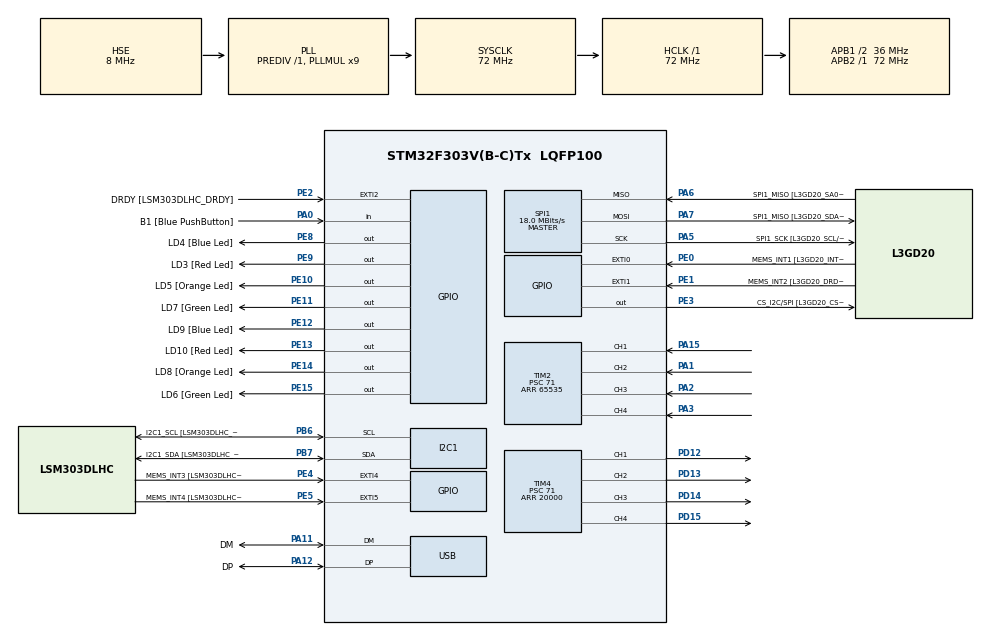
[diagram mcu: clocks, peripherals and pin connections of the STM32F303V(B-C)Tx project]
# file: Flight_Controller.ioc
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I2C1.Timing=0x2000090E
I2C1.Timing-I2C=0x2000090E
Mcu.Family=STM32F3
Mcu.Name=STM32F303V(B-C)Tx
Mcu.Package=LQFP100
NVIC.PriorityGroup=NVIC_PRIORITYGROUP_0
NVIC.TIM2_IRQn=true\:0\:0\:false\:false\:true
NVIC.USB_LP_CAN_RX0_IRQn=true\:0\:0\:false\:false\:true
PA0.GPIO_Label=B1 [Blue PushButton]
PA0.Signal=GPIO_Input
PA1.Signal=S_TIM2_CH2
PA11.GPIO_Label=DM
PA11.Mode=Device
PA11.Signal=USB_DM
PA12.GPIO_Label=DP
PA12.Mode=Device
PA12.Signal=USB_DP
PA13.GPIO_Label=SWDIO
PA13.Mode=Serial_Wire
PA13.Signal=SYS_JTMS-SWDIO
PA14.GPIO_Label=SWCLK
PA14.Mode=Serial_Wire
PA14.Signal=SYS_JTCK-SWCLK
PA15.Signal=S_TIM2_CH1_ETR
PA2.Signal=S_TIM2_CH3
PA3.Signal=S_TIM2_CH4
PA5.GPIO_Label=SPI1_SCK [L3GD20_SCL/SPC]
PA5.Mode=Full_Duplex_Master
PA5.Signal=SPI1_SCK
PA6.GPIO_Label=SPI1_MISO [L3GD20_SA0/SDO]
PA6.Mode=Full_Duplex_Master
PA6.Signal=SPI1_MISO
PA7.GPIO_Label=SPI1_MISO [L3GD20_SDA/SDI/SDO]
PA7.Mode=Full_Duplex_Master
PA7.Signal=SPI1_MOSI
PB3.GPIO_Label=SWO
PB3.Signal=SYS_JTDO-TRACESWO
PB6.GPIO_Label=I2C1_SCL [LSM303DLHC_SCL]
PB6.Mode=I2C
PB6.Signal=I2C1_SCL
PB7.GPIO_Label=I2C1_SDA [LSM303DLHC_SDA]
PB7.Mode=I2C
PB7.Signal=I2C1_SDA
PC14-OSC32_IN.GPIO_Label=OSC32_IN
PC14-OSC32_IN.Signal=RCC_OSC32_IN
PC15-OSC32_OUT.GPIO_Label=OSC32_OUT
PC15-OSC32_OUT.Signal=RCC_OSC32_OUT
PD12.Signal=S_TIM4_CH1
PD13.Signal=S_TIM4_CH2
PD14.Signal=S_TIM4_CH3
PD15.Signal=S_TIM4_CH4
PE0.GPIO_Label=MEMS_INT1 [L3GD20_INT1]
PE0.GPIO_ModeDefaultEXTI=GPIO_MODE_EVT_RISING
PE0.Signal=GPXTI0
PE1.GPIO_Label=MEMS_INT2 [L3GD20_DRDY/INT2]
PE1.GPIO_ModeDefaultEXTI=GPIO_MODE_EVT_RISING
PE1.Signal=GPXTI1
PE10.GPIO_Label=LD5 [Orange Led]
PE10.Signal=GPIO_Output
PE11.GPIO_Label=LD7 [Green Led]
PE11.Signal=GPIO_Output
PE12.GPIO_Label=LD9 [Blue Led]
PE12.Signal=GPIO_Output
PE13.GPIO_Label=LD10 [Red Led]
PE13.Signal=GPIO_Output
PE14.GPIO_Label=LD8 [Orange Led]
PE14.Signal=GPIO_Output
PE15.GPIO_Label=LD6 [Green Led]
PE15.Signal=GPIO_Output
PE2.GPIO_Label=DRDY [LSM303DLHC_DRDY]
PE2.GPIO_ModeDefaultEXTI=GPIO_MODE_EVT_RISING
PE2.Signal=GPXTI2
PE3.GPIO_Label=CS_I2C/SPI [L3GD20_CS_I2C/SPI]
PE3.Signal=GPIO_Output
PE4.GPIO_Label=MEMS_INT3 [LSM303DLHC_INT1]
PE4.GPIO_ModeDefaultEXTI=GPIO_MODE_EVT_RISING
PE4.Signal=GPXTI4
PE5.GPIO_Label=MEMS_INT4 [LSM303DLHC_INT2]
PE5.GPIO_ModeDefaultEXTI=GPIO_MODE_EVT_RISING
PE5.Signal=GPXTI5
PE8.GPIO_Label=LD4 [Blue Led]
PE8.Signal=GPIO_Output
PE9.GPIO_Label=LD3 [Red Led]
PE9.Signal=GPIO_Output
PF0-OSC_IN.GPIO_Label=OSC_IN
PF0-OSC_IN.Mode=HSE-External-Clock-Source
PF0-OSC_IN.Signal=RCC_OSC_IN
PF1-OSC_OUT.GPIO_Label=OSC_OUT
PF1-OSC_OUT.Signal=RCC_OSC_OUT
ProjectManager.HeapSize=0x200
ProjectManager.StackSize=0x400
ProjectManager.TargetToolchain=SW4STM32
RCC.AHBFreq_Value=72000000
RCC.APB1CLKDivider=RCC_HCLK_DIV2
RCC.APB1Freq_Value=36000000
RCC.APB1TimFreq_Value=72000000
RCC.APB2Freq_Value=72000000
RCC.APB2TimFreq_Value=72000000
RCC.CortexFreq_Value=72000000
RCC.HCLKFreq_Value=72000000
RCC.HSE_VALUE=8000000
RCC.HSI_VALUE=8000000
RCC.LSE_VALUE=32768
RCC.PLLMUL=RCC_PLL_MUL9
RCC.PRESCALERUSB=RCC_USBCLKSOURCE_PLL_DIV1_5
RCC.SYSCLKFreq_VALUE=72000000
RCC.SYSCLKSourceVirtual=RCC_SYSCLKSOURCE_PLLCLK
RCC.USBFreq_Value=48000000
SH.S_TIM2_CH1_ETR.0=TIM2_CH1,Input_Capture1_from_TI1
SH.S_TIM2_CH2.0=TIM2_CH2,Input_Capture2_from_TI2
SH.S_TIM2_CH3.0=TIM2_CH3,Input_Capture3_from_TI3
SH.S_TIM2_CH4.0=TIM2_CH4,Input_Capture4_from_TI4
SH.S_TIM4_CH1.0=TIM4_CH1,PWM Generation1 CH1
SH.S_TIM4_CH2.0=TIM4_CH2,PWM Generation2 CH2
SH.S_TIM4_CH3.0=TIM4_CH3,PWM Generation3 CH3
SH.S_TIM4_CH4.0=TIM4_CH4,PWM Generation4 CH4
SPI1.BaudRatePrescaler=SPI_BAUDRATEPRESCALER_4
SPI1.BaudRatePrescaler-Full_Duplex_Master=SPI_BAUDRATEPRESCALER_2
SPI1.CalculateBaudRate=18.0 MBits/s
SPI1.CalculateBaudRate-Full_Duplex_Master=24.0 MBits/s
SPI1.Direction=SPI_DIRECTION_2LINES
SPI1.Mode=SPI_MODE_MASTER
SPI1.Mode-Full_Duplex_Master=SPI_MODE_MASTER
SPI1.VirtualType=VM_MASTER
TIM2.Channel-Input_Capture1_from_TI1=TIM_CHANNEL_1
TIM2.Channel-Input_Capture2_from_TI2=TIM_CHANNEL_2
TIM2.Channel-Input_Capture3_from_TI3=TIM_CHANNEL_3
TIM2.Channel-Input_Capture4_from_TI4=TIM_CHANNEL_4
TIM2.ICPolarity_CH1=TIM_INPUTCHANNELPOLARITY_BOTHEDGE
TIM2.ICPolarity_CH2=TIM_INPUTCHANNELPOLARITY_BOTHEDGE
TIM2.ICPolarity_CH3=TIM_INPUTCHANNELPOLARITY_BOTHEDGE
TIM2.ICPolarity_CH4=TIM_INPUTCHANNELPOLARITY_BOTHEDGE
TIM2.Period=65535
TIM2.Prescaler=71
TIM4.Channel-PWM\ Generation1\ CH1=TIM_CHANNEL_1
TIM4.Channel-PWM\ Generation2\ CH2=TIM_CHANNEL_2
TIM4.Channel-PWM\ Generation3\ CH3=TIM_CHANNEL_3
TIM4.Channel-PWM\ Generation4\ CH4=TIM_CHANNEL_4
TIM4.OCMode_PWM-PWM\ Generation1\ CH1=TIM_OCMODE_PWM2
TIM4.OCMode_PWM-PWM\ Generation2\ CH2=TIM_OCMODE_PWM2
TIM4.OCMode_PWM-PWM\ Generation3\ CH3=TIM_OCMODE_PWM2
TIM4.OCMode_PWM-PWM\ Generation4\ CH4=TIM_OCMODE_PWM2
TIM4.OCPolarity_1=TIM_OCPOLARITY_LOW
TIM4.OCPolarity_2=TIM_OCPOLARITY_LOW
TIM4.OCPolarity_3=TIM_OCPOLARITY_LOW
TIM4.OCPolarity_4=TIM_OCPOLARITY_LOW
TIM4.Period=20000
TIM4.Prescaler=71
USB_DEVICE.CLASS_NAME_FS=CDC
USB_DEVICE.VirtualMode=Cdc
USB_DEVICE.VirtualModeFS=Cdc_FS
VP_TIM2_VS_ClockSourceINT.Mode=Internal
VP_USB_DEVICE_VS_USB_DEVICE_CDC_FS.Mode=CDC_FS
board=STM32F3DISCOVERY

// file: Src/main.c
/**
  ******************************************************************************
  * File Name          : main.c
  * Description        : Main program body
  ******************************************************************************
  * This notice applies to any and all portions of this file
  * that are not between comment pairs USER CODE BEGIN and
  * USER CODE END. Other portions of this file, whether
  * inserted by the user or by software development tools
  * are owned by their respective copyright owners.
  *
  * Copyright (c) 2017 STMicroelectronics International N.V.
  * All rights reserved.
  *
  * Redistribution and use in source and binary forms, with or without
  * modification, are permitted, provided that the following conditions are met:
  *
  * 1. Redistribution of source code must retain the above copyright notice,
  *    this list of conditions and the following disclaimer.
  * 2. Redistributions in binary form must reproduce the above copyright notice,
  *    this list of conditions and the following disclaimer in the documentation
  *    and/or other materials provided with the distribution.
  * 3. Neither the name of STMicroelectronics nor the names of other
  *    contributors to this software may be used to endorse or promote products
  *    derived from this software without specific written permission.
  * 4. This software, including modifications and/or derivative works of this
  *    software, must execute solely and exclusively on microcontroller or
  *    microprocessor devices manufactured by or for STMicroelectronics.
  * 5. Redistribution and use of this software other than as permitted under
  *    this license is void and will automatically terminate your rights under
  *    this license.
  *
  * THIS SOFTWARE IS PROVIDED BY STMICROELECTRONICS AND CONTRIBUTORS "AS IS"
  * AND ANY EXPRESS, IMPLIED OR STATUTORY WARRANTIES, INCLUDING, BUT NOT
  * LIMITED TO, THE IMPLIED WARRANTIES OF MERCHANTABILITY, FITNESS FOR A
  * PARTICULAR PURPOSE AND NON-INFRINGEMENT OF THIRD PARTY INTELLECTUAL PROPERTY
  * RIGHTS ARE DISCLAIMED TO THE FULLEST EXTENT PERMITTED BY LAW. IN NO EVENT
  * SHALL STMICROELECTRONICS OR CONTRIBUTORS BE LIABLE FOR ANY DIRECT, INDIRECT,
  * INCIDENTAL, SPECIAL, EXEMPLARY, OR CONSEQUENTIAL DAMAGES (INCLUDING, BUT NOT
  * LIMITED TO, PROCUREMENT OF SUBSTITUTE GOODS OR SERVICES; LOSS OF USE, DATA,
  * OR PROFITS; OR BUSINESS INTERRUPTION) HOWEVER CAUSED AND ON ANY THEORY OF
  * LIABILITY, WHETHER IN CONTRACT, STRICT LIABILITY, OR TORT (INCLUDING
  * NEGLIGENCE OR OTHERWISE) ARISING IN ANY WAY OUT OF THE USE OF THIS SOFTWARE,
  * EVEN IF ADVISED OF THE POSSIBILITY OF SUCH DAMAGE.
  *
  ******************************************************************************
  */
#include "main.h"
#include "stm32f3xx_hal.h"
#include "usb_device.h"

/* USER CODE BEGIN Includes */
#include "usbd_cdc_if.h"
#include "arm_math.h"
#include "pid.h"

/* USER CODE END Includes */

I2C_HandleTypeDef hi2c1;
SPI_HandleTypeDef hspi1;
TIM_HandleTypeDef htim2;
TIM_HandleTypeDef htim4;

/* USER CODE BEGIN PV */
/* Private variables ---------------------------------------------------------*/
// Timing
#define CLOCK_MHZ 72
volatile uint32_t millis = 0; // Updated in handler 1ms interrupt
uint32_t lastMicros = 0, micros = 0;
float deltaMillis = 0, deltaSeconds = 0;

// Ring Buffer
char usbRXBuffer[RING_BUFFER_SIZE];
uint16_t usbRXBufferHead = 0;
uint16_t usbRXBufferTail = 0;

// USB Transceiver
char outbuffer[512];
char command[64];
uint8_t commandLength = 0;
volatile uint8_t hasUnprocessedCommand = 0;

// Servo Control
uint16_t counter = 0;
int pulseWidth = 1000;

// IMU
#define PITCH_INDEX 0
#define ROLL_INDEX 1
#define YAW_INDEX 2
#define X_AXIS_INDEX 0
#define Y_AXIS_INDEX 1
#define Z_AXIS_INDEX 2
#define AXIS_COUNT 3

float gyroBuffer[AXIS_COUNT], pitch, roll, yaw;
int16_t accBuffer[AXIS_COUNT], magBuffer[AXIS_COUNT];

// ACRO Mode - targets and PID
float targetRates[AXIS_COUNT];
#define MAX_YAW_RATE 100 // degrees per second
#define MAX_PITCH_RATE 100 // degrees per second
#define MAX_ROLL_RATE 100 // degrees per second
int16_t pitchOutput = 0, rollOutput = 0, yawOutput = 0, throttleOutput = 0;
Pid pids[AXIS_COUNT];

// PWM Input
#define PWM_INPUT_PERIOD 0xFFFF
#define THROTTLE_CHANNEL 0
#define PITCH_CHANNEL 1
#define YAW_CHANNEL 2
#define ROLL_CHANNEL 3
#define PWM_CHANNELS 4

typedef enum {
  false,
  true
} bool;

typedef struct {
  uint32_t rising;
  uint32_t falling;
  uint16_t capture;
  GPIO_TypeDef *port;
  uint16_t pin;
  uint8_t channel;
} pwmInputType_t;
pwmInputType_t pwmInputs[PWM_CHANNELS];

/* USER CODE END PV */

void SystemClock_Config(void);
static void MX_GPIO_Init(void);
static void MX_I2C1_Init(void);
static void MX_SPI1_Init(void);
static void MX_TIM4_Init(void);
static void MX_TIM2_Init(void);

void HAL_TIM_MspPostInit(TIM_HandleTypeDef *htim);

/* USER CODE BEGIN PFP */
/* Private function prototypes -----------------------------------------------*/
static void GetGyroAngRates(float* pfData);
static void ComplementaryFilter(
  int16_t accData[AXIS_COUNT],
  float gyroData[AXIS_COUNT],
  float deltaTime,
  float *pitch,
  float *roll,
  float *yaw);

static int16_t mapRCInput(uint16_t input, uint16_t inMin, uint16_t inMax, int16_t outMin, int16_t outMax);

/* USER CODE END PFP */

int main(void)
{

  /* MCU Configuration----------------------------------------------------------*/

  /* Reset of all peripherals, Initializes the Flash interface and the Systick. */
  HAL_Init();

  /* USER CODE BEGIN Init */
  // Initialize the pwmInputs
  // @TODO create config file for these
  pwmInputs[0].port = GPIOA;
  pwmInputs[0].pin = GPIO_PIN_15;
  pwmInputs[0].channel = TIM_CHANNEL_1;
  pwmInputs[1].port = GPIOA;
  pwmInputs[1].pin = GPIO_PIN_1;
  pwmInputs[1].channel = TIM_CHANNEL_2;
  pwmInputs[2].port = GPIOA;
  pwmInputs[2].pin = GPIO_PIN_2;
  pwmInputs[2].channel = TIM_CHANNEL_3;
  pwmInputs[3].port = GPIOA;
  pwmInputs[3].pin = GPIO_PIN_3;
  pwmInputs[3].channel = TIM_CHANNEL_4;

  // Initialize the Pids
  InitPid(&pids[PITCH_INDEX], 0.7f, 0.0f, 0.0f);
  InitPid(&pids[ROLL_INDEX], 0.7f, 0.0f, 0.0f);
  InitPid(&pids[YAW_INDEX], 2.5f, 0.0f, 0.0f);

  /* USER CODE END Init */

  /* Configure the system clock */
  SystemClock_Config();

  /* Initialize all configured peripherals */
  MX_GPIO_Init();
  MX_I2C1_Init();
  MX_SPI1_Init();
  MX_USB_DEVICE_Init();
  MX_TIM4_Init();
  MX_TIM2_Init();

  /* USER CODE BEGIN 2 */
  //HAL_TIM_Base_Start(&htim4);
  HAL_TIM_PWM_Start(&htim4, TIM_CHANNEL_1);
  HAL_TIM_PWM_Start(&htim4, TIM_CHANNEL_2);
  HAL_TIM_PWM_Start(&htim4, TIM_CHANNEL_3);
  HAL_TIM_PWM_Start(&htim4, TIM_CHANNEL_4);
  HAL_TIM_IC_Start_IT(&htim2, TIM_CHANNEL_1);
  HAL_TIM_IC_Start_IT(&htim2, TIM_CHANNEL_2);
  HAL_TIM_IC_Start_IT(&htim2, TIM_CHANNEL_3);
  HAL_TIM_IC_Start_IT(&htim2, TIM_CHANNEL_4);

  // Initialize the IMU
  BSP_GYRO_Init();
  BSP_ACCELERO_Init();
  LSM303DLHC_MagInit(0x0);

  pitch = roll = yaw = 0.0f;

  while (hUsbDeviceFS.dev_state != USBD_STATE_CONFIGURED) {
  }

  /* USER CODE END 2 */

  /* Infinite loop */
  while (1) {

  /* USER CODE BEGIN 3 */
    BSP_LED_Toggle(LED4);

    /* Wait for User button to be pressed */
    while (BSP_PB_GetState(BUTTON_USER) != KEY_PRESSED) {
      // Ensure that the Unit is level.

      // In case the loop is happening sub millisecond (which it is) let's increase
      // precision to microsecond scale.
      // micros = millis*1000+(SystemCoreClock/1000-SysTick->VAL)/SystemCoreClockInMHz;
      // ^^^ essentially Since Systick is a 24 bit counter counting down, we are adding the difference us
      //     to the number of micros that have passed since the milliSecond interrupt
      millis = HAL_GetTick();
      micros = millis * 1000 + 1000 - SysTick->VAL/CLOCK_MHZ;
      deltaMillis = (micros - lastMicros) / 1000.0f;
      deltaSeconds = deltaMillis / 1000.0f;
      lastMicros = micros;

      // Filter IMU Values
      GetGyroAngRates(gyroBuffer);
      BSP_ACCELERO_GetXYZ(accBuffer);
      LSM303DLHC_MagReadXYZ(magBuffer);
      ComplementaryFilter(accBuffer, gyroBuffer, deltaSeconds, &pitch, &roll, &yaw);

      // Get the Target rotational rates from the inputs then calculate the PID loops
      targetRates[PITCH_INDEX] = mapRCInput(pwmInputs[PITCH_CHANNEL].capture, 980, 1980, -MAX_PITCH_RATE, MAX_PITCH_RATE);
      targetRates[ROLL_INDEX] = mapRCInput(pwmInputs[ROLL_CHANNEL].capture, 980, 1980, -MAX_ROLL_RATE, MAX_ROLL_RATE);
      targetRates[YAW_INDEX] = mapRCInput(pwmInputs[YAW_CHANNEL].capture, 980, 1980, -MAX_YAW_RATE, MAX_YAW_RATE);

      // Provide some level of epsilon for Zero throttle
      throttleOutput = pwmInputs[THROTTLE_CHANNEL].capture;
      if (throttleOutput > 1020) {
        pitchOutput = (int16_t) RunPid(&pids[PITCH_INDEX], targetRates[PITCH_INDEX] - gyroBuffer[PITCH_INDEX], deltaMillis / 1000.0f);
        rollOutput = (int16_t) RunPid(&pids[ROLL_INDEX], targetRates[ROLL_INDEX] - gyroBuffer[ROLL_INDEX], deltaMillis / 1000.0f);
        yawOutput = (int16_t) RunPid(&pids[YAW_INDEX], targetRates[YAW_INDEX] - gyroBuffer[YAW_INDEX], deltaMillis / 1000.0f);

        // If pitch is negative then that is forward movement, increase pulse to rear motors
        // If roll is negative then that is left angle, increase pulse to the right motors
        // If yaw is negative then that is left rotation, increase  pulse to front left and back right motors
        // @TODO add in yaw and account for ESC offsets
        __HAL_TIM_SET_COMPARE(&htim4, TIM_CHANNEL_1, throttleOutput - rollOutput - pitchOutput); // FR
        __HAL_TIM_SET_COMPARE(&htim4, TIM_CHANNEL_2, throttleOutput + rollOutput - pitchOutput); // FL
        __HAL_TIM_SET_COMPARE(&htim4, TIM_CHANNEL_3, throttleOutput + rollOutput + pitchOutput); // BL
        __HAL_TIM_SET_COMPARE(&htim4, TIM_CHANNEL_4, throttleOutput - rollOutput + pitchOutput); // BR
      } else {
        // Zero throttle would be 1000 and max would be 2000 (one tick for every micro second)
        pulseWidth = MAX(pwmInputs[THROTTLE_CHANNEL].capture + 20, 1000);  // RX PWM output is 980 - 1980
        __HAL_TIM_SET_COMPARE(&htim4, TIM_CHANNEL_1, 0);
        __HAL_TIM_SET_COMPARE(&htim4, TIM_CHANNEL_2, 0);
        __HAL_TIM_SET_COMPARE(&htim4, TIM_CHANNEL_3, 0);
        __HAL_TIM_SET_COMPARE(&htim4, TIM_CHANNEL_4, 0);
      }

      // Data packet of current state as requested over serial port
      while ((usbRXBufferHead - usbRXBufferTail) > 0U) { // buffer not empty
        command[commandLength++] = usbRXBuffer[usbRXBufferTail & (RING_BUFFER_SIZE - 1)];
        usbRXBufferTail++;
        if (command[commandLength - 1] == '\r') {
          command[commandLength++] = '\n';
          command[commandLength++] = '\0';
          hasUnprocessedCommand = 1;
          break;
        }
      }
      if (hasUnprocessedCommand == 1) {
        if (strcmp(command, "getPacket\r\n") == 0) {
          sprintf(
            outbuffer,
            "oPitch=%7ld, oRoll=%7ld, oYaw=%7ld,\r\n---Throt=%7d, Pitch=%7d, Yaw=%7d, Roll=%7d\r\n",
            (int32_t) (pitch * 1000.0f),
            (int32_t) (roll * 1000.0f),
            (int32_t) (yaw * 1000.0f),
            pwmInputs[0].capture,
            pwmInputs[1].capture,
            pwmInputs[2].capture,
            pwmInputs[3].capture
          );
          CDC_Transmit_FS((uint8_t*) outbuffer, strlen(outbuffer));
        }
        hasUnprocessedCommand = commandLength = 0;
      }
    }

    // Set Servo PWM outputs based on value set in serial port
    while (1) {
      counter++;
      while ((usbRXBufferHead - usbRXBufferTail) > 0U) { // buffer not empty
        command[commandLength++] = usbRXBuffer[usbRXBufferTail & (RING_BUFFER_SIZE - 1)];
        usbRXBufferTail++;
        if (command[commandLength - 1] == '\r') {
          command[commandLength++] = '\n';
          command[commandLength++] = '\0';
          hasUnprocessedCommand = 1;
          break;
        }
      }
      if (hasUnprocessedCommand == 1) {
        CDC_Transmit_FS((uint8_t*) command, strlen(command));
        pulseWidth = strtol(command, (char **) NULL, 10);
        __HAL_TIM_SET_COMPARE(&htim4, TIM_CHANNEL_1, pulseWidth);
        __HAL_TIM_SET_COMPARE(&htim4, TIM_CHANNEL_2, pulseWidth);
        hasUnprocessedCommand = commandLength = 0;
      }
    }
  }

  /* USER CODE END 3 */

}

/** System Clock Configuration
*/
void SystemClock_Config(void)
{

  RCC_OscInitTypeDef RCC_OscInitStruct;
  RCC_ClkInitTypeDef RCC_ClkInitStruct;
  RCC_PeriphCLKInitTypeDef PeriphClkInit;

    /**Initializes the CPU, AHB and APB busses clocks
    */
  RCC_OscInitStruct.OscillatorType = RCC_OSCILLATORTYPE_HSI|RCC_OSCILLATORTYPE_HSE;
  RCC_OscInitStruct.HSEState = RCC_HSE_BYPASS;
  RCC_OscInitStruct.HSEPredivValue = RCC_HSE_PREDIV_DIV1;
  RCC_OscInitStruct.HSIState = RCC_HSI_ON;
  RCC_OscInitStruct.HSICalibrationValue = 16;
  RCC_OscInitStruct.PLL.PLLState = RCC_PLL_ON;
  RCC_OscInitStruct.PLL.PLLSource = RCC_PLLSOURCE_HSE;
  RCC_OscInitStruct.PLL.PLLMUL = RCC_PLL_MUL9;
  if (HAL_RCC_OscConfig(&RCC_OscInitStruct) != HAL_OK)
  {
    _Error_Handler(__FILE__, __LINE__);
  }

    /**Initializes the CPU, AHB and APB busses clocks
    */
  RCC_ClkInitStruct.ClockType = RCC_CLOCKTYPE_HCLK|RCC_CLOCKTYPE_SYSCLK
                              |RCC_CLOCKTYPE_PCLK1|RCC_CLOCKTYPE_PCLK2;
  RCC_ClkInitStruct.SYSCLKSource = RCC_SYSCLKSOURCE_PLLCLK;
  RCC_ClkInitStruct.AHBCLKDivider = RCC_SYSCLK_DIV1;
  RCC_ClkInitStruct.APB1CLKDivider = RCC_HCLK_DIV2;
  RCC_ClkInitStruct.APB2CLKDivider = RCC_HCLK_DIV1;

  if (HAL_RCC_ClockConfig(&RCC_ClkInitStruct, FLASH_LATENCY_2) != HAL_OK)
  {
    _Error_Handler(__FILE__, __LINE__);
  }

  PeriphClkInit.PeriphClockSelection = RCC_PERIPHCLK_USB|RCC_PERIPHCLK_I2C1;
  PeriphClkInit.I2c1ClockSelection = RCC_I2C1CLKSOURCE_HSI;
  PeriphClkInit.USBClockSelection = RCC_USBCLKSOURCE_PLL_DIV1_5;
  if (HAL_RCCEx_PeriphCLKConfig(&PeriphClkInit) != HAL_OK)
  {
    _Error_Handler(__FILE__, __LINE__);
  }

    /**Configure the Systick interrupt time
    */
  HAL_SYSTICK_Config(HAL_RCC_GetHCLKFreq()/1000);

    /**Configure the Systick
    */
  HAL_SYSTICK_CLKSourceConfig(SYSTICK_CLKSOURCE_HCLK);

  /* SysTick_IRQn interrupt configuration */
  HAL_NVIC_SetPriority(SysTick_IRQn, 0, 0);
}

/* I2C1 init function */
static void MX_I2C1_Init(void)
{

  hi2c1.Instance = I2C1;
  hi2c1.Init.Timing = 0x2000090E;
  hi2c1.Init.OwnAddress1 = 0;
  hi2c1.Init.AddressingMode = I2C_ADDRESSINGMODE_7BIT;
  hi2c1.Init.DualAddressMode = I2C_DUALADDRESS_DISABLE;
  hi2c1.Init.OwnAddress2 = 0;
  hi2c1.Init.OwnAddress2Masks = I2C_OA2_NOMASK;
  hi2c1.Init.GeneralCallMode = I2C_GENERALCALL_DISABLE;
  hi2c1.Init.NoStretchMode = I2C_NOSTRETCH_DISABLE;
  if (HAL_I2C_Init(&hi2c1) != HAL_OK)
  {
    _Error_Handler(__FILE__, __LINE__);
  }

    /**Configure Analogue filter
    */
  if (HAL_I2CEx_ConfigAnalogFilter(&hi2c1, I2C_ANALOGFILTER_ENABLE) != HAL_OK)
  {
    _Error_Handler(__FILE__, __LINE__);
  }

    /**Configure Digital filter
    */
  if (HAL_I2CEx_ConfigDigitalFilter(&hi2c1, 0) != HAL_OK)
  {
    _Error_Handler(__FILE__, __LINE__);
  }

}

/* SPI1 init function */
static void MX_SPI1_Init(void)
{

  hspi1.Instance = SPI1;
  hspi1.Init.Mode = SPI_MODE_MASTER;
  hspi1.Init.Direction = SPI_DIRECTION_2LINES;
  hspi1.Init.DataSize = SPI_DATASIZE_4BIT;
  hspi1.Init.CLKPolarity = SPI_POLARITY_LOW;
  hspi1.Init.CLKPhase = SPI_PHASE_1EDGE;
  hspi1.Init.NSS = SPI_NSS_SOFT;
  hspi1.Init.BaudRatePrescaler = SPI_BAUDRATEPRESCALER_4;
  hspi1.Init.FirstBit = SPI_FIRSTBIT_MSB;
  hspi1.Init.TIMode = SPI_TIMODE_DISABLE;
  hspi1.Init.CRCCalculation = SPI_CRCCALCULATION_DISABLE;
  hspi1.Init.CRCPolynomial = 7;
  hspi1.Init.CRCLength = SPI_CRC_LENGTH_DATASIZE;
  hspi1.Init.NSSPMode = SPI_NSS_PULSE_ENABLE;
  if (HAL_SPI_Init(&hspi1) != HAL_OK)
  {
    _Error_Handler(__FILE__, __LINE__);
  }

}

/* TIM2 init function */
static void MX_TIM2_Init(void)
{

  TIM_ClockConfigTypeDef sClockSourceConfig;
  TIM_MasterConfigTypeDef sMasterConfig;
  TIM_IC_InitTypeDef sConfigIC;

  htim2.Instance = TIM2;
  htim2.Init.Prescaler = 71;
  htim2.Init.CounterMode = TIM_COUNTERMODE_UP;
  htim2.Init.Period = 65535;
  htim2.Init.ClockDivision = TIM_CLOCKDIVISION_DIV1;
  htim2.Init.AutoReloadPreload = TIM_AUTORELOAD_PRELOAD_DISABLE;
  if (HAL_TIM_Base_Init(&htim2) != HAL_OK)
  {
    _Error_Handler(__FILE__, __LINE__);
  }

  sClockSourceConfig.ClockSource = TIM_CLOCKSOURCE_INTERNAL;
  if (HAL_TIM_ConfigClockSource(&htim2, &sClockSourceConfig) != HAL_OK)
  {
    _Error_Handler(__FILE__, __LINE__);
  }

  if (HAL_TIM_IC_Init(&htim2) != HAL_OK)
  {
    _Error_Handler(__FILE__, __LINE__);
  }

  sMasterConfig.MasterOutputTrigger = TIM_TRGO_RESET;
  sMasterConfig.MasterSlaveMode = TIM_MASTERSLAVEMODE_DISABLE;
  if (HAL_TIMEx_MasterConfigSynchronization(&htim2, &sMasterConfig) != HAL_OK)
  {
    _Error_Handler(__FILE__, __LINE__);
  }

  sConfigIC.ICPolarity = TIM_INPUTCHANNELPOLARITY_BOTHEDGE;
  sConfigIC.ICSelection = TIM_ICSELECTION_DIRECTTI;
  sConfigIC.ICPrescaler = TIM_ICPSC_DIV1;
  sConfigIC.ICFilter = 0;
  if (HAL_TIM_IC_ConfigChannel(&htim2, &sConfigIC, TIM_CHANNEL_1) != HAL_OK)
  {
    _Error_Handler(__FILE__, __LINE__);
  }

  if (HAL_TIM_IC_ConfigChannel(&htim2, &sConfigIC, TIM_CHANNEL_2) != HAL_OK)
  {
    _Error_Handler(__FILE__, __LINE__);
  }

  if (HAL_TIM_IC_ConfigChannel(&htim2, &sConfigIC, TIM_CHANNEL_3) != HAL_OK)
  {
    _Error_Handler(__FILE__, __LINE__);
  }

  if (HAL_TIM_IC_ConfigChannel(&htim2, &sConfigIC, TIM_CHANNEL_4) != HAL_OK)
  {
    _Error_Handler(__FILE__, __LINE__);
  }

}

/* TIM4 init function */
static void MX_TIM4_Init(void)
{

  TIM_MasterConfigTypeDef sMasterConfig;
  TIM_OC_InitTypeDef sConfigOC;

  htim4.Instance = TIM4;
  htim4.Init.Prescaler = 71;
  htim4.Init.CounterMode = TIM_COUNTERMODE_UP;
  htim4.Init.Period = 20000;
  htim4.Init.ClockDivision = TIM_CLOCKDIVISION_DIV1;
  htim4.Init.AutoReloadPreload = TIM_AUTORELOAD_PRELOAD_DISABLE;
  if (HAL_TIM_PWM_Init(&htim4) != HAL_OK)
  {
    _Error_Handler(__FILE__, __LINE__);
  }

  sMasterConfig.MasterOutputTrigger = TIM_TRGO_RESET;
  sMasterConfig.MasterSlaveMode = TIM_MASTERSLAVEMODE_DISABLE;
  if (HAL_TIMEx_MasterConfigSynchronization(&htim4, &sMasterConfig) != HAL_OK)
  {
    _Error_Handler(__FILE__, __LINE__);
  }

  sConfigOC.OCMode = TIM_OCMODE_PWM2;
  sConfigOC.Pulse = 0;
  sConfigOC.OCPolarity = TIM_OCPOLARITY_LOW;
  sConfigOC.OCFastMode = TIM_OCFAST_DISABLE;
  if (HAL_TIM_PWM_ConfigChannel(&htim4, &sConfigOC, TIM_CHANNEL_1) != HAL_OK)
  {
    _Error_Handler(__FILE__, __LINE__);
  }

  if (HAL_TIM_PWM_ConfigChannel(&htim4, &sConfigOC, TIM_CHANNEL_2) != HAL_OK)
  {
    _Error_Handler(__FILE__, __LINE__);
  }

  if (HAL_TIM_PWM_ConfigChannel(&htim4, &sConfigOC, TIM_CHANNEL_3) != HAL_OK)
  {
    _Error_Handler(__FILE__, __LINE__);
  }

  if (HAL_TIM_PWM_ConfigChannel(&htim4, &sConfigOC, TIM_CHANNEL_4) != HAL_OK)
  {
    _Error_Handler(__FILE__, __LINE__);
  }

  HAL_TIM_MspPostInit(&htim4);

}

/** Configure pins as
        * Analog
        * Input
        * Output
        * EVENT_OUT
        * EXTI
*/
static void MX_GPIO_Init(void)
{

  GPIO_InitTypeDef GPIO_InitStruct;

  /* GPIO Ports Clock Enable */
  __HAL_RCC_GPIOE_CLK_ENABLE();
  __HAL_RCC_GPIOC_CLK_ENABLE();
  __HAL_RCC_GPIOF_CLK_ENABLE();
  __HAL_RCC_GPIOA_CLK_ENABLE();
  __HAL_RCC_GPIOD_CLK_ENABLE();
  __HAL_RCC_GPIOB_CLK_ENABLE();

  /*Configure GPIO pin Output Level */
  HAL_GPIO_WritePin(GPIOE, CS_I2C_SPI_Pin|LD4_Pin|LD3_Pin|LD5_Pin
                          |LD7_Pin|LD9_Pin|LD10_Pin|LD8_Pin
                          |LD6_Pin, GPIO_PIN_RESET);

  /*Configure GPIO pins : DRDY_Pin MEMS_INT3_Pin MEMS_INT4_Pin MEMS_INT1_Pin
                           MEMS_INT2_Pin */
  GPIO_InitStruct.Pin = DRDY_Pin|MEMS_INT3_Pin|MEMS_INT4_Pin|MEMS_INT1_Pin
                          |MEMS_INT2_Pin;
  GPIO_InitStruct.Mode = GPIO_MODE_EVT_RISING;
  GPIO_InitStruct.Pull = GPIO_NOPULL;
  HAL_GPIO_Init(GPIOE, &GPIO_InitStruct);

  /*Configure GPIO pins : CS_I2C_SPI_Pin LD4_Pin LD3_Pin LD5_Pin
                           LD7_Pin LD9_Pin LD10_Pin LD8_Pin
                           LD6_Pin */
  GPIO_InitStruct.Pin = CS_I2C_SPI_Pin|LD4_Pin|LD3_Pin|LD5_Pin
                          |LD7_Pin|LD9_Pin|LD10_Pin|LD8_Pin
                          |LD6_Pin;
  GPIO_InitStruct.Mode = GPIO_MODE_OUTPUT_PP;
  GPIO_InitStruct.Pull = GPIO_NOPULL;
  GPIO_InitStruct.Speed = GPIO_SPEED_FREQ_LOW;
  HAL_GPIO_Init(GPIOE, &GPIO_InitStruct);

  /*Configure GPIO pin : B1_Pin */
  GPIO_InitStruct.Pin = B1_Pin;
  GPIO_InitStruct.Mode = GPIO_MODE_INPUT;
  GPIO_InitStruct.Pull = GPIO_NOPULL;
  HAL_GPIO_Init(B1_GPIO_Port, &GPIO_InitStruct);

}

/* USER CODE BEGIN 4 */

/**
 * @brief Linear forecasting functions. Maps input value from one range to another
 *
 * @param[in] input
 * @param[in] inMin
 * @param[in] inMax
 * @param[in] outMin
 * @param[in] outMax
 *
 * @return int16_t The value that the input maps to
 */
int16_t mapRCInput(uint16_t input, uint16_t inMin, uint16_t inMax, int16_t outMin, int16_t outMax) {
  return (input - inMin) * (outMax - outMin) / (inMax - inMin) + outMin;
}

/**
 * @brief Complementary Filter used to keep track of orientation from an IMU (accelerometer and gyroscope)
 *        This is much simpler than utilizing Kalman Filter.
 *
 * @link http://www.pieter-jan.com/node/11
 *
 * @param[in] accData   3 element float array, data from accelerometer
 * @param[in] gyroData  3 element int16_t array, data from the gyroscope
 * @param[in] deltaTime time, in seconds, since the last update
 * @param[out] pitch    pointer to float to receive the current angle of pitch
 * @param[out] roll     pointer to float to receive the current angle of roll
 * @param[out] yaw      pointer to float to receive the current angle of yaw
 *
 * @retval void
 */
void ComplementaryFilter(int16_t accData[AXIS_COUNT], float gyroData[AXIS_COUNT], float deltaTime, float *pitch, float *roll, float *yaw) {
  float pitchAcc, rollAcc;

  if (deltaTime > 5) return;

// Integrate the gyro data - integral(angularSpeed) = angle
// but careful because it drifts hence the need for the filter
  *pitch += (gyroData[PITCH_INDEX] * deltaTime);   // Angle around the X-axis
  *roll += (gyroData[ROLL_INDEX] * deltaTime);    // Angle around the Y-axis
  *yaw += (gyroData[YAW_INDEX] * deltaTime);     // Angle around the Z-axis

// Unfortunately, due to the fact that gravity is in the downward Z-axis there
// is no way to use the accelerometer to "fix" the gyro drift of Z-rotation

// Compensate for drift with accelerometer data if !bullshit
// Sensitivity = -2 to 2 G at 16Bit -> 2G = 32768 && 0.5G = 8192
  int16_t absX = abs(accData[X_AXIS_INDEX]);
  int16_t absY = abs(accData[Y_AXIS_INDEX]);

  uint32_t forceMagnitudeApprox = absX + absY + abs(accData[Z_AXIS_INDEX]);
// @TODO - save these noise levels as consts somewhere
  if (absX < 200)
    accData[X_AXIS_INDEX] = 0; // ignore noise
  if (absY < 200)
    accData[Y_AXIS_INDEX] = 0;
  if (forceMagnitudeApprox > 8192 && forceMagnitudeApprox < 32768) {
    // Turning around the X axis results in a vector on the Y-axis
    pitchAcc = atan2f((float) accData[Y_AXIS_INDEX], (float) accData[Z_AXIS_INDEX]) * 180.0f / PI;
    *pitch = *pitch * 0.98 + pitchAcc * 0.02;

    // Turning around the Z axis results in a vector on the X-axis
    rollAcc = atan2f((float) accData[X_AXIS_INDEX], (float) accData[Z_AXIS_INDEX]) * 180.0f / PI;
    *roll = *roll * 0.98 + rollAcc * 0.02;

    // @TODO - combine magnetometer data with Gyro for filter yaw drift compensation
  }
}

/**
 * @brief  Calculate the angular Data rate Gyroscope. in dps
 * @param  pfData : Data out pointer
 * @retval None
 */
static void GetGyroAngRates(float* pfData) {
  uint8_t tmpbuffer[6] = {0};
  int16_t RawData[3] = {0};
  uint8_t tmpreg = 0;
  float sensitivity = 0;
  int i = 0;

  GYRO_IO_Read(&tmpreg, L3GD20_CTRL_REG4_ADDR, 1);
  GYRO_IO_Read(tmpbuffer, L3GD20_OUT_X_L_ADDR, 6);

  /* check in the control register 4 the data alignment (Big Endian or Little Endian)*/
  if (!(tmpreg & L3GD20_BLE_MSB)) {
    for (i = 0; i < 3; i++) {
      RawData[i] = (int16_t) (((uint16_t) tmpbuffer[2 * i + 1] << 8) + tmpbuffer[2 * i]);
    }
  } else {
    for (i = 0; i < 3; i++) {
      RawData[i] = (int16_t) (((uint16_t) tmpbuffer[2 * i] << 8) + tmpbuffer[2 * i + 1]);
    }
  }

  /* Switch the sensitivity value set in the CRTL4 */
  switch (tmpreg & L3GD20_FULLSCALE_SELECTION) {
    case L3GD20_FULLSCALE_250:
      sensitivity = L3GD20_SENSITIVITY_250DPS;
      break;

    case L3GD20_FULLSCALE_500:
      sensitivity = L3GD20_SENSITIVITY_500DPS;
      break;

    case L3GD20_FULLSCALE_2000:
      sensitivity = L3GD20_SENSITIVITY_2000DPS;
      break;

    default:
      sensitivity = L3GD20_SENSITIVITY_250DPS;
  }
  sensitivity *= 0.001f;

  /* divide by sensitivity */
  for (i = 0; i < 3; i++) {
    pfData[i] = (float) (RawData[i] * sensitivity);
  }
}

/**
 * Interrupt handler for capture
 *
 * @param htim Timer handle
 */
void HAL_TIM_IC_CaptureCallback(TIM_HandleTypeDef *htim) {
// @TODO - do some fancy mechanism to identify which pwm struct we have
  pwmInputType_t *instance = NULL;

  if (htim->Instance == TIM2) {
    switch (htim->Channel) {
      case HAL_TIM_ACTIVE_CHANNEL_1:
        instance = &pwmInputs[0];
        break;
      case HAL_TIM_ACTIVE_CHANNEL_2:
        instance = &pwmInputs[1];
        break;
      case HAL_TIM_ACTIVE_CHANNEL_3:
        instance = &pwmInputs[2];
        break;
      case HAL_TIM_ACTIVE_CHANNEL_4:
        instance = &pwmInputs[3];
        break;
      default:
        break;
    }
  }

  if (HAL_GPIO_ReadPin(instance->port, instance->pin)) {
    instance->rising = HAL_TIM_ReadCapturedValue(htim, instance->channel);
  } else {
    instance->falling = HAL_TIM_ReadCapturedValue(htim, instance->channel);
    if (instance->rising > instance->falling) {
      instance->rising += PWM_INPUT_PERIOD;
    }
    instance->capture = instance->falling - instance->rising;
  }
}

/* USER CODE END 4 */

void _Error_Handler(char * file, int line)
{
  while (1) {
  }
}

/************************ (C) COPYRIGHT STMicroelectronics *****END OF FILE****/
